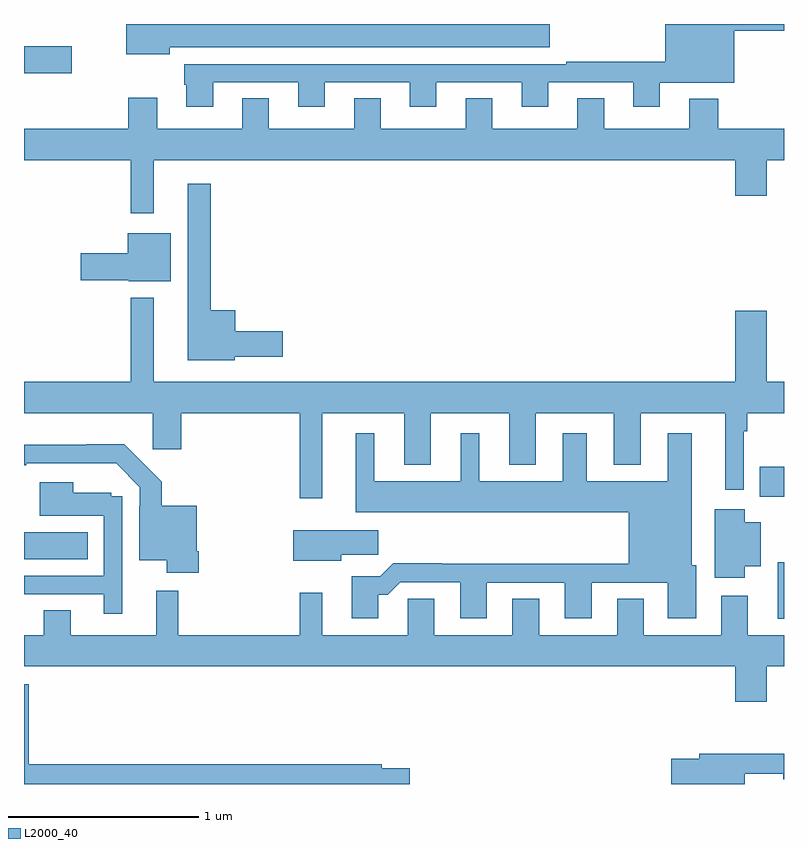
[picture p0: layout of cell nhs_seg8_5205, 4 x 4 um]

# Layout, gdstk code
import gdstk
lib = gdstk.Library(unit=1e-6, precision=1e-09)
def R(c, l, rs):  # rectangles x0, y0, x1, y1
    for r in rs: c.add(gdstk.rectangle(r[:2], r[2:], *l))
def P(c, l, *ps):  # polygons
    for p in ps: c.add(gdstk.Polygon(p, *l))
L2000_40 = (2000, 40)

nhs_seg8_5205 = lib.new_cell('nhs_seg8_5205')
R(nhs_seg8_5205, L2000_40, [(428.966,1096.77,429,1097.067), (425,1097.084,425.336,1097.224), (428.872,1097.411,429,1097.569), (425,1099.642,425.251,1099.784)])
P(nhs_seg8_5205, L2000_40, [(425.767,1099.778),(427.768,1099.778),(427.768,1099.9),(425.538,1099.9),(425.538,1099.742),(425.767,1099.742)],
  [(425.995,1099.593),(426.443,1099.593),(426.443,1099.464),(426.583,1099.464),(426.583,1099.593),(427.031,1099.593),(427.031,1099.464),(427.171,1099.464),(427.171,1099.593),(427.619,1099.593),(427.619,1099.464),(427.759,1099.464),(427.759,1099.593),(428.207,1099.593),(428.207,1099.464),(428.347,1099.464),(428.347,1099.592),(428.737,1099.592),(428.737,1099.864),(429,1099.864),(429,1099.9),(428.375,1099.9),(428.375,1099.702),(427.855,1099.702),(427.855,1099.689),(425.843,1099.689),(425.843,1099.581),(425.855,1099.581),(425.855,1099.464),(425.995,1099.464)],
  [(425.683,1099.184),(428.744,1099.184),(428.744,1098.996),(428.908,1098.996),(428.908,1099.184),(429,1099.184),(429,1099.348),(428.654,1099.348),(428.654,1099.507),(428.501,1099.507),(428.501,1099.348),(428.053,1099.348),(428.053,1099.508),(427.913,1099.508),(427.913,1099.348),(427.465,1099.348),(427.465,1099.508),(427.325,1099.508),(427.325,1099.348),(426.877,1099.348),(426.877,1099.508),(426.737,1099.508),(426.737,1099.348),(426.289,1099.348),(426.289,1099.508),(426.149,1099.508),(426.149,1099.348),(425.701,1099.348),(425.701,1099.513),(425.549,1099.513),(425.549,1099.348),(425,1099.348),(425,1099.184),(425.562,1099.184),(425.562,1098.903),(425.683,1098.903)],
  [(426.108,1098.149),(426.361,1098.149),(426.361,1098.284),(426.112,1098.284),(426.112,1098.394),(425.983,1098.394),(425.983,1099.06),(425.861,1099.06),(425.861,1098.131),(426.108,1098.131)],
  [(425.773,1098.799),(425.546,1098.799),(425.546,1098.693),(425.298,1098.693),(425.298,1098.551),(425.55,1098.551),(425.55,1098.545),(425.773,1098.545)],
  [(428.787,1097.756),(428.807,1097.756),(428.807,1097.852),(429,1097.852),(429,1098.016),(428.908,1098.016),(428.908,1098.391),(428.744,1098.391),(428.744,1098.016),(425.683,1098.016),(425.683,1098.46),(425.562,1098.46),(425.562,1098.016),(425,1098.016),(425,1097.852),(425.677,1097.852),(425.677,1097.661),(425.828,1097.661),(425.828,1097.852),(426.45,1097.852),(426.45,1097.403),(426.571,1097.403),(426.571,1097.852),(427.001,1097.852),(427.001,1097.579),(427.141,1097.579),(427.141,1097.852),(427.553,1097.852),(427.553,1097.579),(427.693,1097.579),(427.693,1097.852),(428.105,1097.852),(428.105,1097.579),(428.245,1097.579),(428.245,1097.852),(428.69,1097.852),(428.69,1097.448),(428.787,1097.448)],
  [(426.865,1096.895),(426.914,1096.895),(426.981,1096.962),(427.295,1096.962),(427.295,1096.773),(427.435,1096.773),(427.435,1096.959),(427.847,1096.959),(427.847,1096.773),(427.987,1096.773),(427.987,1096.959),(428.387,1096.959),(428.387,1096.773),(428.539,1096.773),(428.539,1097.052),(428.515,1097.052),(428.515,1097.746),(428.387,1097.746),(428.387,1097.494),(427.963,1097.494),(427.963,1097.746),(427.835,1097.746),(427.835,1097.494),(427.396,1097.494),(427.396,1097.746),(427.298,1097.746),(427.298,1097.494),(426.844,1097.494),(426.844,1097.746),(426.746,1097.746),(426.746,1097.33),(428.183,1097.33),(428.183,1097.06),(427.199,1097.06),(427.199,1097.063),(426.944,1097.063),(426.874,1096.993),(426.725,1096.993),(426.725,1096.773),(426.865,1096.773)],
  [(425.921,1097.125),(425.908,1097.125),(425.908,1097.365),(425.726,1097.365),(425.726,1097.491),(425.528,1097.689),(425.329,1097.689),(425.329,1097.686),(425,1097.686),(425,1097.577),(425.011,1097.577),(425.011,1097.589),(425.485,1097.589),(425.61,1097.463),(425.61,1097.363),(425.607,1097.363),(425.607,1097.078),(425.75,1097.078),(425.75,1097.013),(425.921,1097.013)],
  [(425.517,1097.415),(425.46,1097.415),(425.46,1097.434),(425.26,1097.434),(425.26,1097.488),(425.084,1097.488),(425.084,1097.312),(425.421,1097.312),(425.421,1096.995),(425,1096.995),(425,1096.899),(425.42,1096.899),(425.42,1096.797),(425.517,1096.797)],
  [(428.794,1097.045),(428.878,1097.045),(428.878,1097.278),(428.794,1097.278),(428.794,1097.347),(428.636,1097.347),(428.636,1096.986),(428.794,1096.986)],
  [(426.67,1097.107),(426.865,1097.107),(426.865,1097.236),(426.416,1097.236),(426.416,1097.075),(426.67,1097.075)],
  [(428.908,1096.52),(429,1096.52),(429,1096.684),(428.809,1096.684),(428.809,1096.891),(428.669,1096.891),(428.669,1096.684),(428.263,1096.684),(428.263,1096.874),(428.123,1096.874),(428.123,1096.684),(427.711,1096.684),(427.711,1096.874),(427.571,1096.874),(427.571,1096.684),(427.159,1096.684),(427.159,1096.874),(427.02,1096.874),(427.02,1096.684),(426.571,1096.684),(426.571,1096.906),(426.45,1096.906),(426.45,1096.684),(425.813,1096.684),(425.813,1096.918),(425.696,1096.918),(425.696,1096.684),(425.245,1096.684),(425.245,1096.814),(425.105,1096.814),(425.105,1096.684),(425,1096.684),(425,1096.52),(428.744,1096.52),(428.744,1096.332),(428.908,1096.332)],
  [(427.031,1095.984),(426.884,1095.984),(426.884,1096.004),(425.024,1096.004),(425.024,1096.425),(425,1096.425),(425,1095.9),(427.031,1095.9)],
  [(428.794,1095.955),(428.996,1095.955),(428.996,1095.926),(429,1095.926),(429,1096.058),(428.555,1096.058),(428.555,1096.032),(428.406,1096.032),(428.406,1095.9),(428.794,1095.9)])

lib.write_gds('nhs_seg8_5205.gds')
